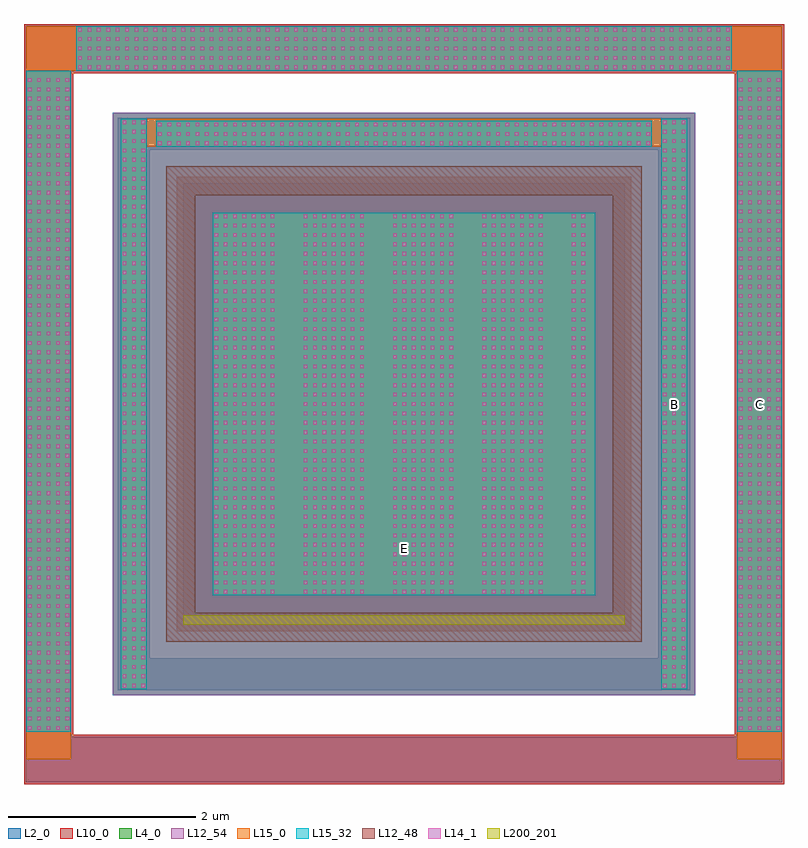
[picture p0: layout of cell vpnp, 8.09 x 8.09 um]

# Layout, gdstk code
import gdstk
lib = gdstk.Library(unit=1e-6, precision=1e-09)
def R(c, l, rs):  # rectangles x0, y0, x1, y1
    for r in rs: c.add(gdstk.rectangle(r[:2], r[2:], *l))
def A(c, l, x, y, w, h, nx, ny, dx, dy):  # array of equal rectangles
    R(c, l, [(x+i*dx, y+j*dy, x+i*dx+w, y+j*dy+h) for i in range(nx) for j in range(ny)])
L2_0 = (2, 0)
L4_0 = (4, 0)
L10_0 = (10, 0)
L12_48 = (12, 48)
L12_54 = (12, 54)
L14_1 = (14, 1)
L15_0 = (15, 0)
L15_32 = (15, 32)
L200_201 = (200, 201)

vpnp = lib.new_cell('vpnp')
R(vpnp, L2_0, [(-10.529,-2.559,-2.477,-2.079), (-10.529,-2.079,-10.049,5.013), (-2.957,-2.079,-2.477,5.013), (-9.549,-1.579,-3.457,-1.239), (-9.549,-1.239,-9.209,4.173), (-3.797,-1.239,-3.457,4.173), (-8.853,-0.883,-4.153,3.817), (-9.549,4.173,-3.457,4.513), (-10.529,5.013,-2.477,5.493)])
R(vpnp, L4_0, [(-9.605,-1.635,-3.401,4.569)])
R(vpnp, L10_0, [(-10.55,-2.58,-2.456,-2.058), (-10.55,-2.058,-10.028,4.992), (-2.978,-2.058,-2.456,4.992), (-8.923,-0.953,-4.083,3.887), (-10.55,4.992,-2.456,5.514)])
R(vpnp, L12_48, [(-9.034,-1.064,-3.972,-0.758), (-9.034,-0.758,-8.728,3.692), (-4.278,-0.758,-3.972,3.692), (-9.034,3.692,-3.972,3.998)])
R(vpnp, L12_54, [(-9.605,-1.635,-3.401,4.569)])
A(vpnp, L14_1, -10.509, -2.003, 0.04, 0.04, 5, 70, 0.1, 0.1)
A(vpnp, L14_1, -2.937, -2.003, 0.04, 0.04, 5, 70, 0.1, 0.1)
A(vpnp, L14_1, -9.499, -1.553, 0.04, 0.04, 3, 61, 0.1, 0.1)
A(vpnp, L14_1, -3.747, -1.553, 0.04, 0.04, 3, 61, 0.1, 0.1)
A(vpnp, L14_1, -8.523, -0.553, 0.04, 0.04, 7, 41, 0.1, 0.1)
A(vpnp, L14_1, -7.571, -0.553, 0.04, 0.04, 7, 41, 0.1, 0.1)
A(vpnp, L14_1, -6.619, -0.553, 0.04, 0.04, 7, 41, 0.1, 0.1)
A(vpnp, L14_1, -5.667, -0.553, 0.04, 0.04, 7, 41, 0.1, 0.1)
A(vpnp, L14_1, -4.715, -0.553, 0.04, 0.04, 1, 41, 0, 0.1)
A(vpnp, L14_1, -4.615, -0.553, 0.04, 0.04, 1, 41, 0, 0.1)
A(vpnp, L14_1, -9.123, 4.223, 0.04, 0.04, 53, 3, 0.1, 0.1)
A(vpnp, L14_1, -9.973, 5.033, 0.04, 0.04, 70, 5, 0.1, 0.1)
R(vpnp, L15_0, [(-10.527,-2.319,-10.051,5.491), (-2.955,-2.319,-2.479,5.491), (-9.517,-1.571,-9.241,4.505), (-3.765,-1.571,-3.489,4.505), (-8.541,-0.571,-4.465,3.505), (-9.241,4.205,-3.765,4.505), (-10.051,5.015,-2.955,5.491)])
R(vpnp, L15_32, [(-10.527,-2.021,-10.051,5.015), (-2.955,-2.021,-2.479,5.015), (-9.517,-1.571,-9.241,4.505), (-3.765,-1.571,-3.489,4.505), (-8.541,-0.571,-4.465,3.505), (-9.141,4.205,-3.865,4.481), (-9.991,5.015,-3.015,5.491)])
R(vpnp, L200_201, [(-8.853,-0.883,-4.153,-0.783)])
vpnp.add(gdstk.Label('E', (-6.503,-0.071), layer=15, texttype=20))
vpnp.add(gdstk.Label('B', (-3.627,1.467), layer=15, texttype=20))
vpnp.add(gdstk.Label('C', (-2.717,1.467), layer=15, texttype=20))

lib.write_gds('vpnp.gds')
